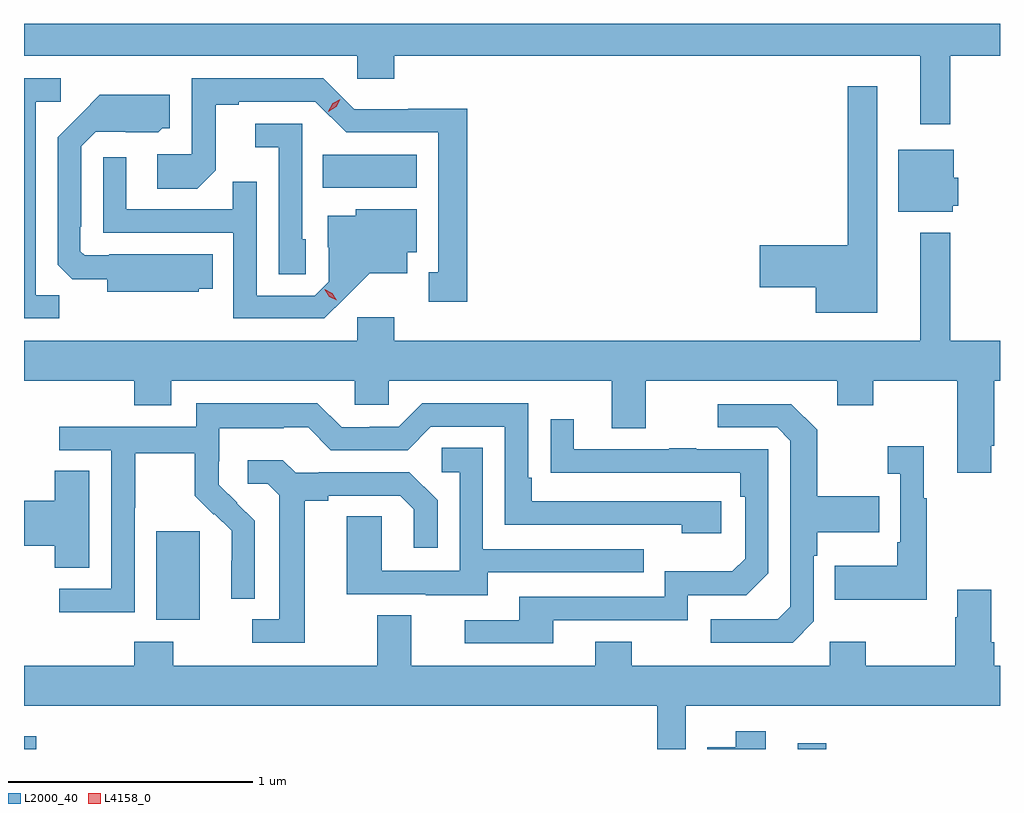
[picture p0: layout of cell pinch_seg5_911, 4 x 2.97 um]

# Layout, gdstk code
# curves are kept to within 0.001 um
import gdstk
lib = gdstk.Library(unit=1e-6, precision=1e-09)
def R(c, l, rs):  # rectangles x0, y0, x1, y1
    for r in rs: c.add(gdstk.rectangle(r[:2], r[2:], *l))
def P(c, l, *ps):  # polygons
    for p in ps: c.add(gdstk.Polygon(p, *l))
L2000_40 = (2000, 40)
L4158_0 = (4158, 0)

pinch_seg5_911 = lib.new_cell('pinch_seg5_911')
R(pinch_seg5_911, L2000_40, [(661.839,912.526,661.889,912.58), (665.01,912.526,665.126,912.55), (662.381,913.058,662.56,913.419), (663.064,914.828,663.448,914.962)])
P(pinch_seg5_911, L2000_40, [(665.635,915.368),(665.839,915.368),(665.839,915.5),(661.839,915.5),(661.839,915.368),(663.204,915.368),(663.204,915.275),(663.356,915.275),(663.356,915.368),(665.513,915.368),(665.513,915.087),(665.635,915.087)],
  [(661.983,914.387),(661.887,914.387),(661.887,915.18),(661.99,915.18),(661.99,915.276),(661.839,915.276),(661.839,914.292),(661.983,914.292)],
  [(663.655,915.152),(663.414,915.152),(663.414,915.15),(663.192,915.15),(663.066,915.276),(662.526,915.276),(662.526,914.964),(662.385,914.964),(662.385,914.824),(662.549,914.824),(662.625,914.9),(662.625,915.168),(662.719,915.168),(662.719,915.18),(663.033,915.18),(663.159,915.054),(663.536,915.054),(663.536,914.481),(663.497,914.481),(663.497,914.361),(663.655,914.361)],
  [(665.335,915.244),(665.214,915.244),(665.214,914.591),(664.854,914.591),(664.854,914.42),(665.084,914.42),(665.084,914.315),(665.335,914.315)],
  [(662.556,914.414),(662.612,914.414),(662.612,914.554),(662.188,914.554),(662.188,914.55),(662.088,914.55),(662.07,914.568),(662.07,914.668),(662.073,914.668),(662.073,914.997),(662.133,915.057),(662.39,915.056),(662.406,915.072),(662.437,915.072),(662.437,915.208),(662.149,915.208),(661.977,915.034),(661.977,914.512),(662.036,914.453),(662.18,914.453),(662.18,914.402),(662.556,914.402)],
  [(662.994,914.616),(662.979,914.616),(662.979,915.09),(662.787,915.09),(662.787,914.993),(662.883,914.993),(662.883,914.473),(662.994,914.473)],
  [(665.646,914.754),(665.668,914.754),(665.668,914.868),(665.65,914.868),(665.65,914.983),(665.423,914.983),(665.423,914.729),(665.646,914.729)],
  [(663.154,914.375),(663.257,914.477),(663.409,914.477),(663.409,914.564),(663.448,914.564),(663.448,914.74),(663.198,914.74),(663.198,914.713),(663.083,914.713),(663.083,914.584),(663.087,914.584),(663.087,914.442),(663.03,914.385),(662.793,914.385),(662.793,914.852),(662.695,914.852),(662.695,914.739),(662.259,914.739),(662.259,914.953),(662.163,914.953),(662.163,914.643),(662.697,914.643),(662.697,914.292),(663.07,914.292)],
  [(665.803,913.771),(665.816,913.771),(665.816,914.036),(665.839,914.036),(665.839,914.2),(665.635,914.2),(665.635,914.644),(665.513,914.644),(665.513,914.2),(663.356,914.2),(663.356,914.296),(663.204,914.296),(663.204,914.2),(661.839,914.2),(661.839,914.036),(662.291,914.036),(662.291,913.937),(662.443,913.937),(662.443,914.036),(663.195,914.036),(663.195,913.938),(663.333,913.938),(663.333,914.036),(664.247,914.036),(664.247,913.842),(664.387,913.842),(664.387,914.036),(665.171,914.036),(665.171,913.937),(665.319,913.937),(665.319,914.036),(665.663,914.036),(665.663,913.659),(665.803,913.659)],
  [(662.292,913.516),(662.295,913.516),(662.295,913.74),(662.539,913.74),(662.539,913.565),(662.616,913.488),(662.619,913.491),(662.69,913.421),(662.69,913.298),(662.688,913.298),(662.688,913.144),(662.784,913.144),(662.784,913.462),(662.638,913.61),(662.638,913.707),(662.64,913.707),(662.64,913.841),(662.903,913.841),(662.903,913.845),(663.003,913.845),(663.096,913.752),(663.411,913.752),(663.507,913.848),(663.81,913.848),(663.81,913.446),(664.535,913.446),(664.535,913.412),(664.696,913.412),(664.696,913.542),(663.919,913.542),(663.919,913.639),(663.906,913.639),(663.906,913.944),(663.471,913.944),(663.375,913.848),(663.257,913.848),(663.257,913.845),(663.141,913.845),(663.041,913.945),(662.544,913.945),(662.544,913.848),(661.983,913.848),(661.983,913.752),(662.196,913.752),(662.196,913.185),(661.983,913.185),(661.983,913.087),(662.292,913.087)],
  [(665.076,913.05),(665.076,913.319),(665.089,913.319),(665.089,913.415),(665.345,913.415),(665.345,913.563),(665.089,913.563),(665.089,913.835),(664.983,913.941),(664.683,913.941),(664.683,913.845),(664.926,913.845),(664.98,913.791),(664.98,913.11),(664.929,913.059),(664.653,913.059),(664.653,912.963),(664.989,912.963)],
  [(664.009,913.056),(664.56,913.056),(664.56,913.158),(664.8,913.158),(664.89,913.248),(664.89,913.755),(664.595,913.755),(664.595,913.76),(664.483,913.76),(664.483,913.755),(664.093,913.755),(664.093,913.879),(663.997,913.879),(663.997,913.66),(664.774,913.659),(664.774,913.562),(664.794,913.562),(664.794,913.308),(664.741,913.255),(664.464,913.255),(664.464,913.152),(663.869,913.152),(663.869,913.056),(663.645,913.056),(663.645,912.96),(664.009,912.96)],
  [(665.539,913.555),(665.527,913.555),(665.527,913.768),(665.379,913.768),(665.379,913.655),(665.43,913.655),(665.43,913.375),(665.418,913.375),(665.418,913.279),(665.161,913.279),(665.161,913.139),(665.539,913.139)],
  [(663.739,913.251),(664.379,913.251),(664.379,913.347),(663.72,913.347),(663.72,913.763),(663.552,913.763),(663.552,913.662),(663.624,913.662),(663.624,913.257),(663.306,913.257),(663.306,913.481),(663.161,913.481),(663.161,913.161),(663.485,913.161),(663.485,913.157),(663.739,913.157)],
  [(662.989,913.544),(663.085,913.544),(663.085,913.566),(663.38,913.566),(663.437,913.509),(663.437,913.353),(663.534,913.353),(663.534,913.546),(663.418,913.662),(663.046,913.662),(663.046,913.659),(662.952,913.659),(662.9,913.711),(662.757,913.711),(662.757,913.614),(662.838,913.614),(662.885,913.567),(662.885,913.059),(662.775,913.059),(662.775,912.963),(662.989,912.963)],
  [(662.107,913.667),(661.964,913.667),(661.964,913.544),(661.839,913.544),(661.839,913.361),(661.964,913.361),(661.964,913.27),(662.107,913.27)],
  [(664.551,912.704),(665.839,912.704),(665.839,912.868),(665.816,912.868),(665.816,912.964),(665.803,912.964),(665.803,913.18),(665.663,913.18),(665.663,913.067),(665.656,913.067),(665.656,912.868),(665.289,912.868),(665.289,912.967),(665.142,912.967),(665.142,912.868),(664.329,912.868),(664.329,912.967),(664.181,912.967),(664.181,912.868),(663.427,912.868),(663.427,913.076),(663.287,913.076),(663.287,912.868),(662.451,912.868),(662.451,912.967),(662.291,912.967),(662.291,912.868),(661.839,912.868),(661.839,912.704),(664.435,912.704),(664.435,912.526),(664.551,912.526)],
  [(664.879,912.601),(664.757,912.601),(664.757,912.535),(664.64,912.535),(664.64,912.526),(664.879,912.526)])
P(pinch_seg5_911, L4158_0, [(663.086,915.14),(663.086,915.141),(663.104,915.173),(663.136,915.191),(663.136,915.191),(663.136,915.191),(663.118,915.159),(663.086,915.14)],
  [(663.12,914.366),(663.089,914.381),(663.072,914.41),(663.072,914.411),(663.072,914.411),(663.103,914.396),(663.12,914.366),(663.12,914.366)])

lib.write_gds('pinch_seg5_911.gds')
